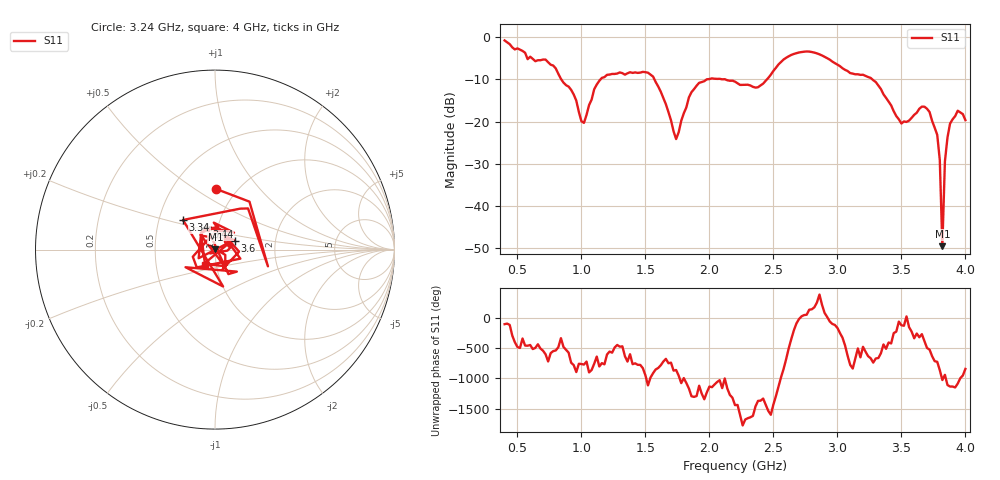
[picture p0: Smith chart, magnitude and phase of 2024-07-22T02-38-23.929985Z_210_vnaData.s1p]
!Created with skrf (http://scikit-rf.org).
# Hz S RI R 50.0
!freq ReS11 ImS11
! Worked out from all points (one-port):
!   181 points, 400 MHz to 4 GHz, reference 50 ohm
!   lowest |S11| = -49.5 dB at 3.82 GHz (marker M1), VSWR 1.01, Z = 50.2 + j0.273 ohm
!   |S11| at or under -10 dB: 1.57 GHz to 1.979 GHz (408.4 MHz wide, 23 % of centre); 2.124 GHz to 2.45 GHz (325.9 MHz wide, 14.3 % of centre); 3.273 GHz to end of sweep (the widest 3 of 4)
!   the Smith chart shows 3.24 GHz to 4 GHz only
!   S11 on the Smith chart (normalised r, x): 3.24 GHz: 0.81, +0.61; 3.34 GHz: 0.66, +0.23; 3.44 GHz: 0.89, +0.22; 3.6 GHz: 1.24, +0.12; 4 GHz: 0.88, -0.16
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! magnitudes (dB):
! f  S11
! 400 MHz  -0.8
! 720 MHz  -5.3
! 860 MHz  -10.8
! 1.02 GHz  -20.3
! 1.14 GHz  -10.3
! 1.3 GHz  -8.3
! 1.56 GHz  -9.3
! 1.74 GHz  -24.1
! 1.76 GHz  -22.5
! 1.84 GHz  -14.3
! 1.92 GHz  -10.8
! 2.2 GHz  -10.5
! 2.38 GHz  -11.9
! 2.66 GHz  -4.0
! 3.1 GHz  -8.5
! 3.24 GHz  -9.4
! 3.34 GHz  -12.3
! 3.44 GHz  -17.5
! 3.56 GHz  -19.8
! 3.6 GHz  -18.4
! 3.7 GHz  -17.0
! 3.78 GHz  -23.1
! 3.8 GHz  -29.1
! 3.82 GHz  -49.5
! 3.84 GHz  -29.4
! 3.86 GHz  -23.8
! 3.94 GHz  -17.4
! 4 GHz  -19.7
